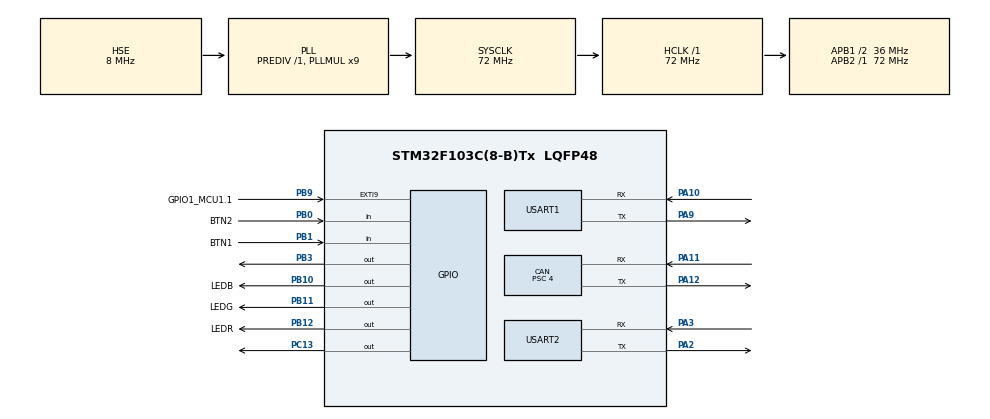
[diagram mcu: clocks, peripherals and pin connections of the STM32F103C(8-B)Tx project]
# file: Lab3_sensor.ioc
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CAN.BS1=CAN_BS1_13TQ
CAN.BS2=CAN_BS2_4TQ
CAN.CalculateBaudRate=500000
CAN.CalculateTimeBit=2000
CAN.CalculateTimeQuantum=111.11111111111111
CAN.Prescaler=4
CAN.SJW=CAN_SJW_2TQ
Mcu.Family=STM32F1
Mcu.Name=STM32F103C(8-B)Tx
Mcu.Package=LQFP48
NVIC.CAN1_RX1_IRQn=true\:0\:0\:false\:false\:true\:true\:true\:true
NVIC.PriorityGroup=NVIC_PRIORITYGROUP_4
NVIC.TIM2_IRQn=true\:0\:0\:false\:false\:true\:true\:true\:true
PA10.Mode=Asynchronous
PA10.Signal=USART1_RX
PA11.Mode=CAN_Activate
PA11.Signal=CAN_RX
PA12.Mode=CAN_Activate
PA12.Signal=CAN_TX
PA13.Mode=Serial_Wire
PA13.Signal=SYS_JTMS-SWDIO
PA14.Mode=Serial_Wire
PA14.Signal=SYS_JTCK-SWCLK
PA2.Mode=Asynchronous
PA2.Signal=USART2_TX
PA3.Mode=Asynchronous
PA3.Signal=USART2_RX
PA9.Mode=Asynchronous
PA9.Signal=USART1_TX
PB0.GPIO_Label=BTN2
PB0.Signal=GPIO_Input
PB1.GPIO_Label=BTN1
PB1.Signal=GPIO_Input
PB10.GPIO_Label=LEDB
PB10.PinState=GPIO_PIN_SET
PB10.Signal=GPIO_Output
PB11.GPIO_Label=LEDG
PB11.PinState=GPIO_PIN_SET
PB11.Signal=GPIO_Output
PB12.GPIO_Label=LEDR
PB12.PinState=GPIO_PIN_SET
PB12.Signal=GPIO_Output
PB3.PinState=GPIO_PIN_SET
PB3.Signal=GPIO_Output
PB9.GPIO_Label=GPIO1_MCU1.1
PB9.Signal=GPXTI9
PC13-TAMPER-RTC.Signal=GPIO_Output
PD0-OSC_IN.Mode=HSE-External-Oscillator
PD0-OSC_IN.Signal=RCC_OSC_IN
PD1-OSC_OUT.Mode=HSE-External-Oscillator
PD1-OSC_OUT.Signal=RCC_OSC_OUT
ProjectManager.HeapSize=0x200
ProjectManager.StackSize=0x400
ProjectManager.TargetToolchain=STM32CubeIDE
RCC.ADCPresc=RCC_ADCPCLK2_DIV6
RCC.AHBFreq_Value=72000000
RCC.APB1CLKDivider=RCC_HCLK_DIV2
RCC.APB1Freq_Value=36000000
RCC.APB1TimFreq_Value=72000000
RCC.APB2Freq_Value=72000000
RCC.APB2TimFreq_Value=72000000
RCC.HCLKFreq_Value=72000000
RCC.PLLMUL=RCC_PLL_MUL9
RCC.PLLSourceVirtual=RCC_PLLSOURCE_HSE
RCC.SYSCLKFreq_VALUE=72000000
RCC.SYSCLKSource=RCC_SYSCLKSOURCE_PLLCLK
RCC.USBFreq_Value=72000000
TIM2.Period=999
TIM2.Prescaler=3599
USART1.VirtualMode=VM_ASYNC
USART2.VirtualMode=VM_ASYNC
VP_TIM2_VS_ClockSourceINT.Mode=Internal
board=custom

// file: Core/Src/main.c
/* USER CODE BEGIN Header */
/**
  ******************************************************************************
  * @file           : main.c
  * @brief          : Main program body
  ******************************************************************************
  * @attention
  *
  * Copyright (c) 2023 STMicroelectronics.
  * All rights reserved.
  *
  * This software is licensed under terms that can be found in the LICENSE file
  * in the root directory of this software component.
  * If no LICENSE file comes with this software, it is provided AS-IS.
  *
  ******************************************************************************
  */
/* USER CODE END Header */
#include "main.h"

/* USER CODE BEGIN Includes */
#include "canbus.h"
/* USER CODE END Includes */

CAN_HandleTypeDef hcan;

TIM_HandleTypeDef htim2;

UART_HandleTypeDef huart1;
UART_HandleTypeDef huart2;

/* USER CODE BEGIN PV */

uint8_t count = 0;

/* CAN Tx variables */
extern uint8_t TxBuffer[];
uint8_t DataFlag = 0;

/* CAN Rx variables */
extern uint8_t RxBuffer[];
extern uint8_t ReceiveFlag;

/* USER CODE END PV */

void SystemClock_Config(void);
static void MX_GPIO_Init(void);
static void MX_CAN_Init(void);
static void MX_USART1_UART_Init(void);
static void MX_USART2_UART_Init(void);
static void MX_TIM2_Init(void);

/* USER CODE BEGIN 0 */
// Callback function for timer2
void HAL_TIM_PeriodElapsedCallback(TIM_HandleTypeDef *htim)
{
 if(htim->Instance == htim2.Instance)
 {
   HAL_GPIO_TogglePin(GPIOC, GPIO_PIN_13);
   DataFlag = 1;
 }
}

/* USER CODE END 0 */

int main(void)
{

  /* MCU Configuration--------------------------------------------------------*/

  /* Reset of all peripherals, Initializes the Flash interface and the Systick. */
  HAL_Init();

  /* Configure the system clock */
  SystemClock_Config();

  /* Initialize all configured peripherals */
  MX_GPIO_Init();
  MX_CAN_Init();
  MX_USART1_UART_Init();
  MX_USART2_UART_Init();
  MX_TIM2_Init();
  /* USER CODE BEGIN 2 */
  HAL_TIM_Base_Start_IT(&htim2);
  if (HAL_CAN_Start(&hcan) != HAL_OK)
  {
	  Error_Handler();
  }
  HAL_CAN_ActivateNotification(&hcan, CAN_IT_RX_FIFO1_MSG_PENDING);

  /* USER CODE END 2 */

  /* Infinite loop */
  /* USER CODE BEGIN WHILE */
  while (1)
  {
	if (DataFlag == 1)
	{
		DataFlag = 0;
		calc_Message();
		CAN_Transmit(&hcan);
		HAL_Delay(2000);
	}

	if (ReceiveFlag == 1)
	{
		ReceiveFlag = 0;

		if ((RxBuffer[0] == TxBuffer[0]) && (RxBuffer[1] == TxBuffer[1]))
		{
			if (RxBuffer[2] == (TxBuffer[0] + TxBuffer[1]))
			{
				uint8_t crc = calc_SAE_J1850(RxBuffer, 7);
				if (crc == RxBuffer[7])
				{
					HAL_GPIO_TogglePin(GPIOB, LEDG_Pin);
				}
			}
		}

	}
    /* USER CODE END WHILE */

  }
}

void SystemClock_Config(void)
{
  RCC_OscInitTypeDef RCC_OscInitStruct = {0};
  RCC_ClkInitTypeDef RCC_ClkInitStruct = {0};

  /** Initializes the RCC Oscillators according to the specified parameters
  * in the RCC_OscInitTypeDef structure.
  */
  RCC_OscInitStruct.OscillatorType = RCC_OSCILLATORTYPE_HSE;
  RCC_OscInitStruct.HSEState = RCC_HSE_ON;
  RCC_OscInitStruct.HSEPredivValue = RCC_HSE_PREDIV_DIV1;
  RCC_OscInitStruct.HSIState = RCC_HSI_ON;
  RCC_OscInitStruct.PLL.PLLState = RCC_PLL_ON;
  RCC_OscInitStruct.PLL.PLLSource = RCC_PLLSOURCE_HSE;
  RCC_OscInitStruct.PLL.PLLMUL = RCC_PLL_MUL9;
  if (HAL_RCC_OscConfig(&RCC_OscInitStruct) != HAL_OK)
  {
    Error_Handler();
  }

  /** Initializes the CPU, AHB and APB buses clocks
  */
  RCC_ClkInitStruct.ClockType = RCC_CLOCKTYPE_HCLK|RCC_CLOCKTYPE_SYSCLK
                              |RCC_CLOCKTYPE_PCLK1|RCC_CLOCKTYPE_PCLK2;
  RCC_ClkInitStruct.SYSCLKSource = RCC_SYSCLKSOURCE_PLLCLK;
  RCC_ClkInitStruct.AHBCLKDivider = RCC_SYSCLK_DIV1;
  RCC_ClkInitStruct.APB1CLKDivider = RCC_HCLK_DIV2;
  RCC_ClkInitStruct.APB2CLKDivider = RCC_HCLK_DIV1;

  if (HAL_RCC_ClockConfig(&RCC_ClkInitStruct, FLASH_LATENCY_2) != HAL_OK)
  {
    Error_Handler();
  }
}

static void MX_CAN_Init(void)
{

  hcan.Instance = CAN1;
  hcan.Init.Prescaler = 4;
  hcan.Init.Mode = CAN_MODE_NORMAL;
  hcan.Init.SyncJumpWidth = CAN_SJW_2TQ;
  hcan.Init.TimeSeg1 = CAN_BS1_13TQ;
  hcan.Init.TimeSeg2 = CAN_BS2_4TQ;
  hcan.Init.TimeTriggeredMode = DISABLE;
  hcan.Init.AutoBusOff = DISABLE;
  hcan.Init.AutoWakeUp = DISABLE;
  hcan.Init.AutoRetransmission = DISABLE;
  hcan.Init.ReceiveFifoLocked = DISABLE;
  hcan.Init.TransmitFifoPriority = DISABLE;
  if (HAL_CAN_Init(&hcan) != HAL_OK)
  {
    Error_Handler();
  }
  /* USER CODE BEGIN CAN_Init 2 */
  CAN_FilterTypeDef canfilterconfig;

  canfilterconfig.FilterActivation = CAN_FILTER_ENABLE;
  canfilterconfig.FilterBank = 12;  // which filter bank to use from the assigned ones
  canfilterconfig.FilterFIFOAssignment = CAN_FILTER_FIFO1;
  canfilterconfig.FilterIdHigh = 0x012<<5;
  canfilterconfig.FilterIdLow = 0;
  canfilterconfig.FilterMaskIdHigh = 0x012<<5;
  canfilterconfig.FilterMaskIdLow = 0x0000;
  canfilterconfig.FilterMode = CAN_FILTERMODE_IDMASK;
  canfilterconfig.FilterScale = CAN_FILTERSCALE_32BIT;
  canfilterconfig.SlaveStartFilterBank = 13;  // how many filters to assign to the CAN1 (master can)

  HAL_CAN_ConfigFilter(&hcan, &canfilterconfig);
  /* USER CODE END CAN_Init 2 */

}

static void MX_TIM2_Init(void)
{

  TIM_ClockConfigTypeDef sClockSourceConfig = {0};
  TIM_MasterConfigTypeDef sMasterConfig = {0};

  htim2.Instance = TIM2;
  htim2.Init.Prescaler = 3599;
  htim2.Init.CounterMode = TIM_COUNTERMODE_UP;
  htim2.Init.Period = 999;
  htim2.Init.ClockDivision = TIM_CLOCKDIVISION_DIV1;
  htim2.Init.AutoReloadPreload = TIM_AUTORELOAD_PRELOAD_DISABLE;
  if (HAL_TIM_Base_Init(&htim2) != HAL_OK)
  {
    Error_Handler();
  }
  sClockSourceConfig.ClockSource = TIM_CLOCKSOURCE_INTERNAL;
  if (HAL_TIM_ConfigClockSource(&htim2, &sClockSourceConfig) != HAL_OK)
  {
    Error_Handler();
  }
  sMasterConfig.MasterOutputTrigger = TIM_TRGO_RESET;
  sMasterConfig.MasterSlaveMode = TIM_MASTERSLAVEMODE_DISABLE;
  if (HAL_TIMEx_MasterConfigSynchronization(&htim2, &sMasterConfig) != HAL_OK)
  {
    Error_Handler();
  }

}

static void MX_USART1_UART_Init(void)
{

  huart1.Instance = USART1;
  huart1.Init.BaudRate = 115200;
  huart1.Init.WordLength = UART_WORDLENGTH_8B;
  huart1.Init.StopBits = UART_STOPBITS_1;
  huart1.Init.Parity = UART_PARITY_NONE;
  huart1.Init.Mode = UART_MODE_TX_RX;
  huart1.Init.HwFlowCtl = UART_HWCONTROL_NONE;
  huart1.Init.OverSampling = UART_OVERSAMPLING_16;
  if (HAL_UART_Init(&huart1) != HAL_OK)
  {
    Error_Handler();
  }

}

static void MX_USART2_UART_Init(void)
{

  huart2.Instance = USART2;
  huart2.Init.BaudRate = 115200;
  huart2.Init.WordLength = UART_WORDLENGTH_8B;
  huart2.Init.StopBits = UART_STOPBITS_1;
  huart2.Init.Parity = UART_PARITY_NONE;
  huart2.Init.Mode = UART_MODE_TX_RX;
  huart2.Init.HwFlowCtl = UART_HWCONTROL_NONE;
  huart2.Init.OverSampling = UART_OVERSAMPLING_16;
  if (HAL_UART_Init(&huart2) != HAL_OK)
  {
    Error_Handler();
  }

}

static void MX_GPIO_Init(void)
{
  GPIO_InitTypeDef GPIO_InitStruct = {0};

  /* GPIO Ports Clock Enable */
  __HAL_RCC_GPIOC_CLK_ENABLE();
  __HAL_RCC_GPIOD_CLK_ENABLE();
  __HAL_RCC_GPIOA_CLK_ENABLE();
  __HAL_RCC_GPIOB_CLK_ENABLE();

  /*Configure GPIO pin Output Level */
  HAL_GPIO_WritePin(GPIOC, GPIO_PIN_13, GPIO_PIN_RESET);

  /*Configure GPIO pin Output Level */
  HAL_GPIO_WritePin(GPIOB, LEDB_Pin|LEDG_Pin|LEDR_Pin|GPIO_PIN_3, GPIO_PIN_SET);

  /*Configure GPIO pin : PC13 */
  GPIO_InitStruct.Pin = GPIO_PIN_13;
  GPIO_InitStruct.Mode = GPIO_MODE_OUTPUT_PP;
  GPIO_InitStruct.Pull = GPIO_NOPULL;
  GPIO_InitStruct.Speed = GPIO_SPEED_FREQ_LOW;
  HAL_GPIO_Init(GPIOC, &GPIO_InitStruct);

  /*Configure GPIO pins : BTN2_Pin BTN1_Pin */
  GPIO_InitStruct.Pin = BTN2_Pin|BTN1_Pin;
  GPIO_InitStruct.Mode = GPIO_MODE_INPUT;
  GPIO_InitStruct.Pull = GPIO_NOPULL;
  HAL_GPIO_Init(GPIOB, &GPIO_InitStruct);

  /*Configure GPIO pins : LEDB_Pin LEDG_Pin LEDR_Pin PB3 */
  GPIO_InitStruct.Pin = LEDB_Pin|LEDG_Pin|LEDR_Pin|GPIO_PIN_3;
  GPIO_InitStruct.Mode = GPIO_MODE_OUTPUT_PP;
  GPIO_InitStruct.Pull = GPIO_NOPULL;
  GPIO_InitStruct.Speed = GPIO_SPEED_FREQ_LOW;
  HAL_GPIO_Init(GPIOB, &GPIO_InitStruct);

  /*Configure GPIO pin : GPIO1_MCU1_1_Pin */
  GPIO_InitStruct.Pin = GPIO1_MCU1_1_Pin;
  GPIO_InitStruct.Mode = GPIO_MODE_IT_RISING;
  GPIO_InitStruct.Pull = GPIO_NOPULL;
  HAL_GPIO_Init(GPIO1_MCU1_1_GPIO_Port, &GPIO_InitStruct);

}

void Error_Handler(void)
{
  __disable_irq();
  while (1)
  {
  }
}
